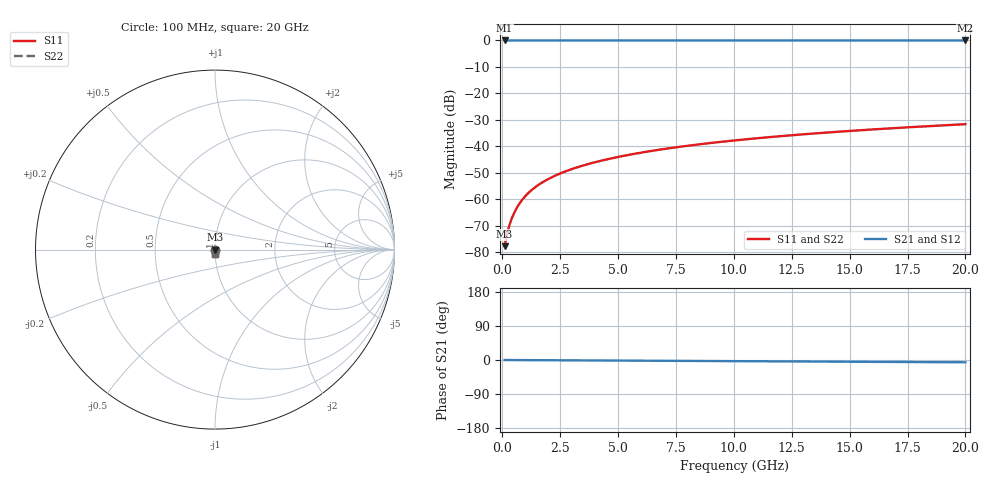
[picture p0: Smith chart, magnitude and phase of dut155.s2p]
! Touchstone file exported from HFSS 2026.1.0
!  File:  C:/ffzhzh/LocalFiles/Ansys_Project_Files/temp_train_TSV_155_1782990662_6248.aedt
!  Generated:  07:12:33 PM Jul  2, 2026
!  Design:  TSV
!  Project:  temp_train_TSV_155_1782990662_6248
! Variables:
!  h_bsmrdl = 2um
!  h_ox = 20um
!  h_rdl = 5um
!  h_sub = 58.76um
!  h_tmrdl = 5um
!  h_tsv = 58.76um
!  h_via = 3um
!  l_bsmrdl = 300um
!  l_sub = 422.44um
!  l_tmrdl = 200um
!  m_sub = 200um
!  pitch = 35.62um
!  r_tsv = 11.22um
!  s_tmrdl = 10um
!  w_bsmrdl = 18um
!  w_sub = 500um
!  w_tmrdl = 12um
!  x_tsv_center1 = 206um
!  x_tsv_center2 = 524um
!  x_tsv_center3 = 736um
!  x_tsv_center4 = 1054um
!  x_tsv_center5 = 1266um
!  x_tsv_center6 = 1584um
# GHz S MA R 50.000000
! Terminal data exported
! Port[1] = TSV1_1_T1
! Port[2] = TSV1_1_T2
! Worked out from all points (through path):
!   200 points, 100 MHz to 20 GHz, reference 50 ohm
!   highest |S21| = 0.00 dB at 100 MHz (marker M1); lowest = 0.0 dB at 20 GHz (marker M2)
!   lowest |S11| = -77.6 dB at 100 MHz (marker M3), VSWR 1.00, Z = 50 - j0.00953 ohm
!   |S11| at or under -10 dB: start of sweep to end of sweep
!   |S22| runs from -77.6 to -31.6 dB; largest |S21 - S12| = 3.8e-15
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0.1  0.0001315 -46.4  0.9999 -0.0  0.9999 -0.0  0.0001315 -46.4
! Gamma 0 0 0 0
! Port Impedance 50 0 50 0
0.2  0.0002186 -62.3  0.9999 -0.1  0.9999 -0.1  0.0002186 -62.3
0.3  0.0003192 -68.3  0.9999 -0.1  0.9999 -0.1  0.0003192 -68.3
0.4  0.0004279 -71.3  0.9999 -0.1  0.9999 -0.1  0.0004279 -71.3
0.5  0.0005427 -73.2  0.9998 -0.2  0.9998 -0.2  0.0005427 -73.2
0.6  0.0006622 -74.6  0.9998 -0.2  0.9998 -0.2  0.0006622 -74.6
0.8  0.0009099 -76.7  0.9998 -0.3  0.9998 -0.3  0.0009099 -76.7
1.1  0.001292 -79.0  0.9997 -0.3  0.9997 -0.3  0.001292 -79.0
1.3  0.001549 -80.2  0.9997 -0.4  0.9997 -0.4  0.001549 -80.2
1.5  0.001806 -81.2  0.9997 -0.5  0.9997 -0.5  0.001806 -81.2
1.8  0.002192 -82.3  0.9997 -0.6  0.9997 -0.6  0.002192 -82.3
2.1  0.002578 -83.2  0.9997 -0.6  0.9997 -0.6  0.002578 -83.2
2.7  0.003351 -84.5  0.9996 -0.8  0.9996 -0.8  0.003351 -84.5
3.5  0.004386 -85.7  0.9996 -1.1  0.9996 -1.1  0.004386 -85.7
4.2  0.005296 -86.4  0.9995 -1.3  0.9995 -1.3  0.005296 -86.4
5  0.006342 -87.0  0.9995 -1.5  0.9995 -1.5  0.006342 -87.0
6.8  0.008714 -88.2  0.9994 -2.1  0.9994 -2.1  0.008714 -88.2
8.3  0.0107 -89.1  0.9993 -2.5  0.9993 -2.5  0.0107 -89.1
10.1  0.01309 -89.9  0.9992 -3.1  0.9992 -3.1  0.01309 -89.9
13.4  0.01749 -91.4  0.999 -4.1  0.999 -4.1  0.01749 -91.4
16.7  0.02189 -92.7  0.9988 -5.1  0.9988 -5.1  0.02189 -92.7
20  0.0263 -93.8  0.9986 -6.1  0.9986 -6.1  0.0263 -93.9
